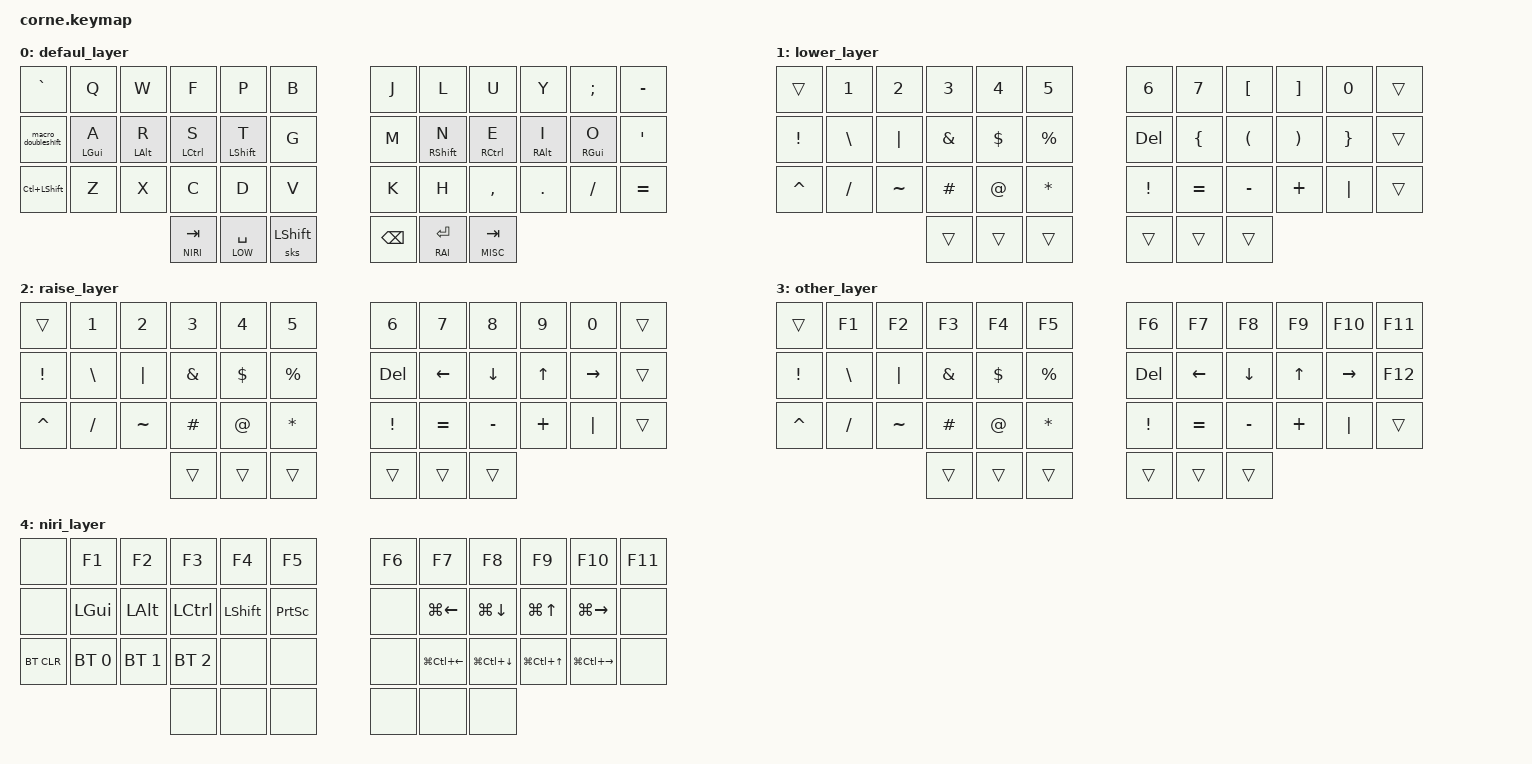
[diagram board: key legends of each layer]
/*
 * Copyright (c) 2020 The ZMK Contributors
 *
 * SPDX-License-Identifier: MIT
 */

#include <behaviors.dtsi>
#include <dt-bindings/zmk/keys.h>
#include <dt-bindings/zmk/bt.h>

#include "zmk-helpers/helper.h"
#include "zmk-helpers/key-labels/42.h"

#define DEF 0
#define LOW 1
#define RAI 2
#define MISC 3
#define NIRI 4

ZMK_HOLD_TAP(hml,
    flavor = "balanced";
    tapping-term-ms = <280>;
    quick-tap-ms = <175>;
    require-prior-idle-ms = <150>;
    hold-trigger-key-positions = <KEYS_R THUMBS>;
    hold-trigger-on-release;
    bindings = <&kp>, <&kp>;
)

ZMK_HOLD_TAP(hmr,
    flavor = "balanced";
    tapping-term-ms = <280>;
    quick-tap-ms = <175>;
    require-prior-idle-ms = <150>;
    hold-trigger-key-positions = <KEYS_L THUMBS>;
    hold-trigger-on-release;
    bindings = <&kp>, <&kp>;
)

ZMK_BEHAVIOR(sks, sticky_key,
    release-after-ms = <1000>;
    quick-release;
    ignore-modifiers;
    bindings = <&kp>;
)

ZMK_MACRO(macro_doubleshift,
    bindings = <&kp LSHIFT &kp LSHIFT>;
)

ZMK_MACRO(macro_php_arrow_notation,
    bindings = <&kp MINUS &kp LS(DOT)>;
)

ZMK_MACRO(macro_right_arrow,
    bindings = <&kp EQUAL &kp LS(DOT)>;
)

ZMK_COMBO(combo_esc, &kp ESC, LM3 LM2, DEF)
ZMK_COMBO(combo_phpstorm, &kp LS(F6), RB1 RB2, DEF)
ZMK_COMBO(combo_php_arrow, &macro_php_arrow_notation, RM2 RM3, DEF)
ZMK_COMBO(combo_right_arrow, &macro_right_arrow, RB2 RB3, DEF)

ZMK_LAYER(defaul_layer,
	&kp GRAVE           &kp Q        &kp W        &kp F         &kp P          &kp B    &kp J     &kp L                &kp U         &kp Y        &kp SEMI     &kp MINUS
	&macro_doubleshift  &hml LGUI A  &hml LALT R  &hml LCTRL S  &hml LSHIFT T  &kp G    &kp M     &hmr RSHIFT N  &hmr RCTRL E  &hmr RALT I  &hmr RGUI O  &kp SQT
	&kp LC(LSHIFT)      &kp Z        &kp X        &kp C         &kp D          &kp V    &kp K     &kp H                &kp COMMA     &kp DOT      &kp FSLH     &kp EQUAL
				                     &lt NIRI TAB    &lt LOW SPACE  &sks LSHIFT                 &kp BSPC  &lt RAI RET      &lt MISC TAB
)

ZMK_LAYER(lower_layer,
	&trans    &kp N1    &kp N2     &kp N3    &kp N4    &kp N5          &kp N6    &kp N7     &kp LBKT   &kp RBKT  &kp N0    &trans
	&kp EXCL  &kp BSLH  &kp PIPE   &kp AMPS  &kp DLLR  &kp PRCNT       &kp DEL   &kp LBRC   &kp LPAR   &kp RPAR  &kp RBRC  &trans
	&kp CARET &kp FSLH  &kp TILDE  &kp HASH  &kp AT    &kp ASTRK       &kp EXCL  &kp EQUAL  &kp MINUS  &kp PLUS  &kp PIPE  &trans
	          &trans    &trans     &trans                              &trans    &trans     &trans
)

ZMK_LAYER(raise_layer,
	&trans    &kp N1    &kp N2     &kp N3    &kp N4    &kp N5          &kp N6    &kp N7     &kp N8     &kp N9    &kp N0     &trans
	&kp EXCL  &kp BSLH  &kp PIPE   &kp AMPS  &kp DLLR  &kp PRCNT       &kp DEL   &kp LEFT   &kp DOWN   &kp UP    &kp RIGHT  &trans
	&kp CARET &kp FSLH  &kp TILDE  &kp HASH  &kp AT    &kp ASTRK       &kp EXCL  &kp EQUAL  &kp MINUS  &kp PLUS  &kp PIPE   &trans
	          &trans    &trans     &trans                              &trans    &trans     &trans
)

ZMK_LAYER(other_layer,
	&trans     &kp F1    &kp F2     &kp F3    &kp F4    &kp F5          &kp F6    &kp F7     &kp F8     &kp F9    &kp F10    &kp F11
	&kp EXCL   &kp BSLH  &kp PIPE   &kp AMPS  &kp DLLR  &kp PRCNT       &kp DEL   &kp LEFT   &kp DOWN   &kp UP    &kp RIGHT  &kp F12
	&kp CARET &kp FSLH  &kp TILDE  &kp HASH  &kp AT    &kp ASTRK       &kp EXCL  &kp EQUAL  &kp MINUS  &kp PLUS  &kp PIPE   &trans
	           &trans    &trans     &trans                              &trans    &trans     &trans
)

ZMK_LAYER(niri_layer,
	&none      &kp F1           &kp F2           &kp F3            &kp F4             &kp F5          &kp F6    &kp F7               &kp F8             &kp F9           &kp F10              &kp F11
	&none      &kp LGUI         &kp LALT         &kp LCTRL         &kp LSHIFT         &kp PSCRN       &none     &kp LG(LEFT)         &kp LG(DOWN)       &kp LG(UP)       &kp LG(RIGHT)        &none
	&bt BT_CLR &bt BT_SEL 0     &bt BT_SEL 1     &bt BT_SEL 2      &none              &none           &none     &kp LG(LC(LEFT))     &kp LG(LC(DOWN))   &kp LG(LC(UP))   &kp LG(LC(RIGHT))    &none
	           &none            &none            &none                                                &none     &none                &none
)
